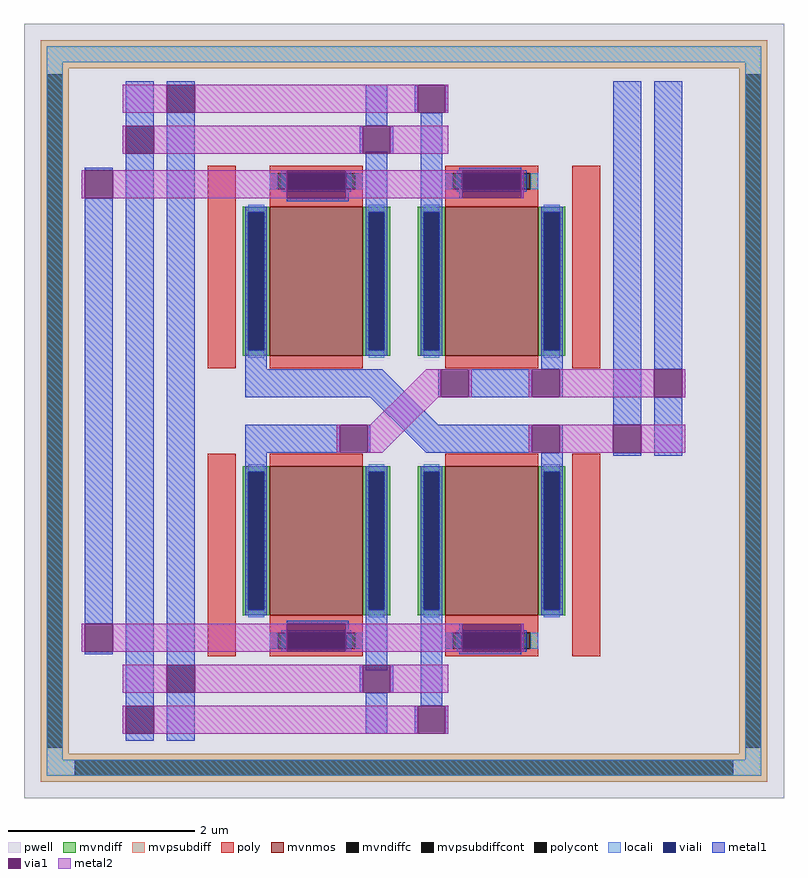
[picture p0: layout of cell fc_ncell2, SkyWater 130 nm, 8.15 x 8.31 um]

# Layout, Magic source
magic
tech sky130A
magscale 1 2
<< pwell >>
rect -45 -846 1585 816
<< mvpsubdiffcont >>
rect 4 -737 38 707
rect 1502 -737 1536 707
rect 64 -797 1476 -763
<< metal1 >>
rect 688 597 734 685
rect 793 625 799 685
rect 859 625 865 685
rect 675 537 681 597
rect 741 537 747 597
rect 806 541 852 625
rect 688 536 734 537
rect 430 75 476 103
rect 1064 75 1110 103
rect 430 15 626 75
rect 915 15 1044 75
rect 1104 15 1110 75
rect 1219 -45 1279 692
rect 430 -105 626 -45
rect 915 -105 1044 -45
rect 1104 -105 1110 -45
rect 430 -133 476 -105
rect 1064 -133 1110 -105
rect 1219 -111 1279 -105
rect 1307 75 1367 692
rect 1307 -111 1367 15
rect 675 -619 681 -559
rect 741 -619 747 -559
rect 688 -707 734 -619
rect 806 -647 852 -526
rect 793 -707 799 -647
rect 859 -707 865 -647
<< via1 >>
rect 261 625 321 685
rect 799 625 859 685
rect 173 537 233 597
rect 681 537 741 597
rect 1044 15 1104 75
rect 1044 -105 1104 -45
rect 1219 -105 1279 -45
rect 1307 15 1367 75
rect 261 -619 321 -559
rect 681 -619 741 -559
rect 173 -707 233 -647
rect 799 -707 859 -647
<< metal2 >>
rect 167 625 261 685
rect 321 625 799 685
rect 859 625 865 685
rect 167 537 173 597
rect 233 537 681 597
rect 741 537 865 597
rect 1038 15 1044 75
rect 1104 15 1307 75
rect 1367 15 1373 75
rect 1038 -105 1044 -45
rect 1104 -105 1219 -45
rect 1279 -105 1373 -45
rect 167 -619 261 -559
rect 321 -619 681 -559
rect 741 -619 865 -559
rect 167 -707 173 -647
rect 233 -707 799 -647
rect 859 -707 865 -647
use cross_pair  cross_pair_0
transform 1 0 -35488 0 1 -1960
box 36114 1855 36403 2035
use fc_ncell2_2  fc_ncell2_2_0
transform 1 0 431 0 1 67
box -440 -82 1118 713
use fc_ncell2_2  fc_ncell2_2_1
transform 1 0 431 0 -1 -97
box -440 -82 1118 713
<< end >>

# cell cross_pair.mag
magic
tech sky130A
magscale 1 2
<< metal1 >>
rect 36114 1975 36211 2035
tri 36211 1975 36271 2035 sw
rect 36331 1975 36337 2035
rect 36397 1975 36403 2035
rect 36114 1855 36120 1915
rect 36180 1855 36186 1915
tri 36186 1890 36271 1975 ne
tri 36271 1915 36331 1975 sw
rect 36271 1890 36403 1915
tri 36271 1855 36306 1890 ne
rect 36306 1855 36403 1890
<< via1 >>
rect 36337 1975 36397 2035
rect 36120 1855 36180 1915
<< metal2 >>
tri 36271 2000 36306 2035 se
rect 36306 2000 36337 2035
tri 36186 1915 36271 2000 se
rect 36271 1975 36337 2000
rect 36397 1975 36403 2035
tri 36271 1915 36331 1975 nw
rect 36114 1855 36120 1915
rect 36180 1855 36211 1915
tri 36211 1855 36271 1915 nw
<< end >>

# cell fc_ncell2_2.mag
magic
tech sky130A
magscale 1 2
<< mvpsubdiff >>
rect -440 653 1118 713
rect -440 -82 -380 653
rect 1058 -82 1118 653
<< poly >>
rect -82 10 -22 444
rect 700 10 760 444
<< locali >>
rect -427 666 1105 700
rect -427 -82 -393 666
rect 1071 -82 1105 666
<< metal1 >>
rect -346 434 -286 440
rect -346 -82 -286 374
rect -258 -82 -198 625
rect -170 -82 -110 625
rect 214 374 220 434
rect 88 368 220 374
rect 257 356 303 474
rect 375 356 421 474
rect 458 434 590 440
rect 458 374 464 434
rect 590 374 596 434
<< via1 >>
rect -346 374 -286 434
rect 88 374 214 434
rect 464 374 590 434
<< metal2 >>
rect -352 374 -346 434
rect -286 374 88 434
rect 214 374 464 434
rect 590 374 596 434
use sky130_fd_pr__nfet_g5v0d10v5_YZ2SRG  sky130_fd_pr__nfet_g5v0d10v5_YZ2SRG_0
transform 1 0 151 0 1 227
box -158 -217 158 217
use sky130_fd_pr__nfet_g5v0d10v5_YZ2SRG  sky130_fd_pr__nfet_g5v0d10v5_YZ2SRG_1
transform 1 0 527 0 1 227
box -158 -217 158 217
<< end >>

# cell sky130_fd_pr__nfet_g5v0d10v5_YZ2SRG: kit device sky130_fd_pr__nfet_g5v0d10v5, w 1.6 l 1 m 1 nf 1 diffcov 100 polycov 100 guard 0 glc 1 grc 1 gtc 1 gbc 1 tbcov 100 rlcov 100 topc 1 botc 0 poverlap 0 doverlap 1 lmin 0.50 wmin 0.42 compatible {sky130_fd_pr__nfet_01v8 sky130_fd_pr__nfet_01v8_lvt sky130_fd_bs_flash__special_sonosfet_star sky130_fd_pr__nfet_g5v0d10v5 sky130_fd_pr__nfet_05v0_nvt sky130_fd_pr__nfet_03v3_nvt} full_metal 1 viasrc 100 viadrn 100 viagate 75 viagb 0 viagr 0 viagl 0 viagt 0
